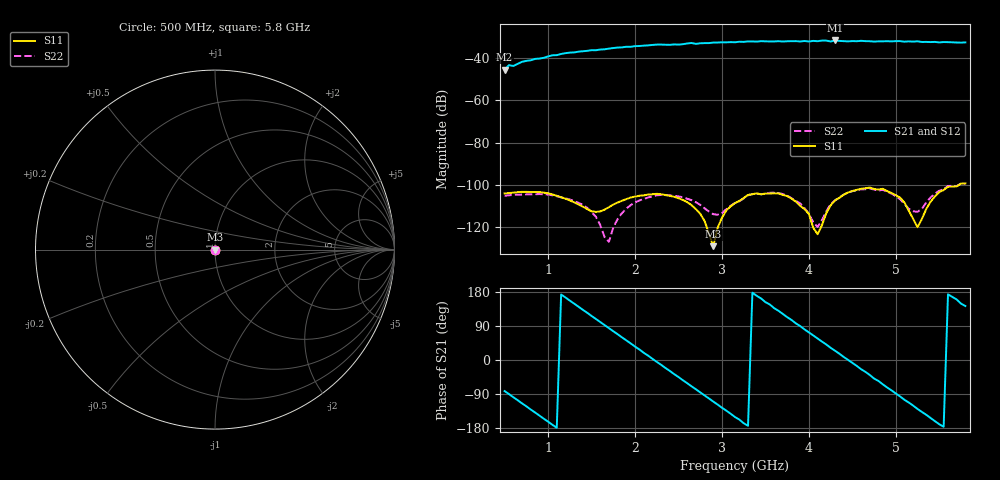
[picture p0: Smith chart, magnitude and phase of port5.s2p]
# GHZ S RI R 50
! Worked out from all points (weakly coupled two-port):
!   107 points, 500 MHz to 5.8 GHz, reference 50 ohm
!   highest |S21| = -31.61 dB at 4.3 GHz (marker M1); lowest = -45.4 dB at 500 MHz (marker M2)
!   lowest |S11| = -129.0 dB at 2.9 GHz (marker M3), VSWR 1.00, Z = 50 - j9.72e-06 ohm
!   |S11| at or under -10 dB: start of sweep to end of sweep
!   |S22| runs from -126.9 to -99.3 dB; largest |S21 - S12| = 0.00049
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0.5  5.3e-06 -3.4e-06  0.000747 -0.00533  0.000749 -0.00532  5.43e-06 -1.17e-06
0.55  4.79e-06 -4.31e-06  1.19e-05 -0.00685  2.14e-05 -0.00685  5.44e-06 -1.69e-06
0.6  4.07e-06 -5.14e-06  -0.000933 -0.00647  -0.000941 -0.00647  5.31e-06 -2.33e-06
0.7  2.39e-06 -6.45e-06  -0.0034 -0.00747  -0.0034 -0.00748  4.8e-06 -3.51e-06
0.95  -2.48e-06 -6.1e-06  -0.00922 -0.00434  -0.00922 -0.00433  2.18e-06 -5.62e-06
1.05  -3.56e-06 -4.79e-06  -0.0116 -0.00184  -0.0116 -0.00182  7.6e-07 -5.63e-06
1.4  -2.86e-06 -1.1e-06  -0.00985 0.0108  -0.00986 0.0108  -2.31e-06 -2.46e-06
1.9  -3.44e-06 -3.09e-06  0.0115 0.0147  0.0116 0.0146  1.8e-06 -2.09e-06
2.3  -5.94e-06 9.08e-07  0.0205 -0.00461  0.0205 -0.00452  -2.12e-06 -5.39e-06
2.5  -3.84e-06 3e-06  0.0148 -0.0148  0.0148 -0.0148  -4.3e-06 -3.2e-06
2.65  -1.69e-06 2.87e-06  0.00804 -0.0214  0.00817 -0.0214  -4.2e-06 -1.19e-06
2.7  -1.14e-06 2.43e-06  0.00483 -0.0213  0.00478 -0.0213  -3.81e-06 -7.85e-07
2.9  -3.42e-07 -9.72e-08  -0.00789 -0.022  -0.00785 -0.0221  -1.92e-06 -6.75e-07
3.15  -3.06e-06 -2.12e-06  -0.0207 -0.0117  -0.0207 -0.0119  -2.24e-06 -3e-06
3.45  -5.85e-06 1.32e-06  -0.0241 0.00767  -0.024 0.00757  -5.82e-06 -1.47e-06
4.05  -2.57e-07 9.39e-07  0.0109 0.0232  0.011 0.0232  -9.98e-07 8.56e-07
4.2  -2.13e-06 -3.75e-07  0.0197 0.0171  0.0196 0.0171  -2.09e-06 -1.15e-06
4.25  -3.25e-06 -5.05e-07  0.021 0.0132  0.0211 0.0133  -3.03e-06 -1.76e-06
4.3  -4.31e-06 -4.21e-07  0.0239 0.0109  0.0239 0.0108  -3.79e-06 -2.05e-06
4.45  -6.31e-06 2e-06  0.025 0.000172  0.025 0.000435  -6.59e-06 -7.74e-07
4.95  1.6e-06 6.28e-06  0.00425 -0.0246  0.00427 -0.0246  -2.65e-06 5.62e-06
5.8  -4.61e-06 9.86e-06  -0.0187 0.0144  -0.0184 0.0147  -5.38e-06 9.33e-06
